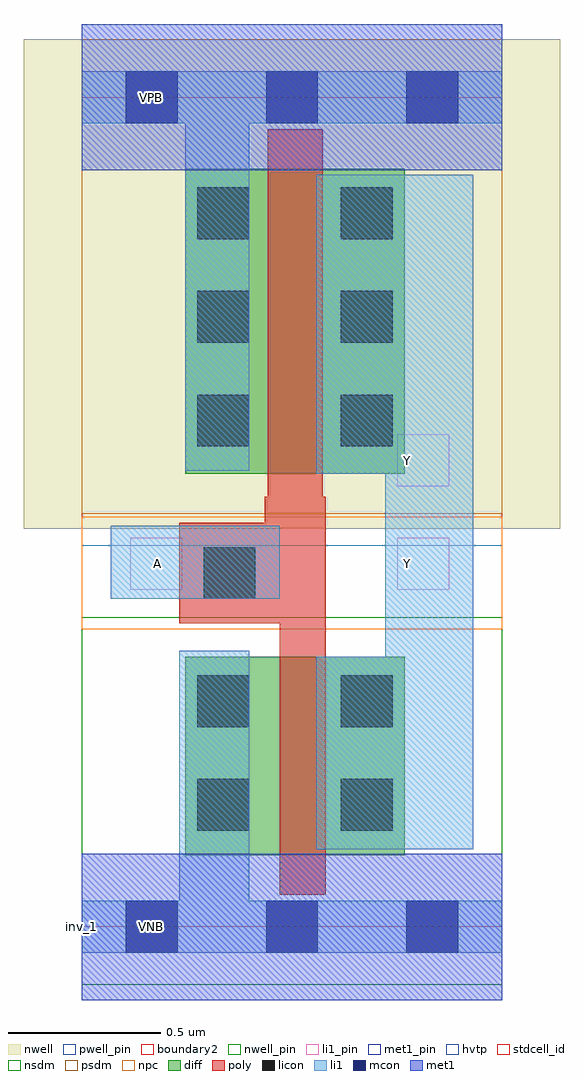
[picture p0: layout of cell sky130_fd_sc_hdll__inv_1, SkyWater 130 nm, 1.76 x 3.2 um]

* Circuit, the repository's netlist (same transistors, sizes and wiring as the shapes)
* Copyright 2020 The SkyWater PDK Authors
*
* Licensed under the Apache License, Version 2.0 (the "License");
* you may not use this file except in compliance with the License.
* You may obtain a copy of the License at
*
*     https://www.apache.org/licenses/LICENSE-2.0
*
* Unless required by applicable law or agreed to in writing, software
* distributed under the License is distributed on an "AS IS" BASIS,
* WITHOUT WARRANTIES OR CONDITIONS OF ANY KIND, either express or implied.
* See the License for the specific language governing permissions and
* limitations under the License.
*
* SPDX-License-Identifier: Apache-2.0

.SUBCKT sky130_fd_sc_hdll__inv_1 A VGND VNB VPB VPWR Y
*.PININFO A:I VGND:I VNB:I VPB:I VPWR:I Y:O
MMIN1 Y A VGND VNB sky130_fd_pr__nfet_01v8 m=1 w=0.65U l=0.15U mult=1 sa=0.265
+ sb=0.265 sd=0.28 area=0.063 perim=1.14
MMIP1 Y A VPWR VPB sky130_fd_pr__pfet_01v8_hvt m=1 w=1.0U l=0.18U mult=1 sa=0.265
+ sb=0.265 sd=0.28 area=0.063 perim=1.14
.ENDS sky130_fd_sc_hdll__inv_1

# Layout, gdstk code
import gdstk
lib = gdstk.Library(unit=1e-6, precision=1e-09)
def R(c, l, rs):  # rectangles x0, y0, x1, y1
    for r in rs: c.add(gdstk.rectangle(r[:2], r[2:], *l))
def A(c, l, x, y, w, h, nx, ny, dx, dy):  # array of equal rectangles
    R(c, l, [(x+i*dx, y+j*dy, x+i*dx+w, y+j*dy+h) for i in range(nx) for j in range(ny)])
def P(c, l, *ps):  # polygons
    for p in ps: c.add(gdstk.Polygon(p, *l))
nwell_pin = (64, 16)
nwell = (64, 20)
diff = (65, 20)
poly = (66, 20)
licon = (66, 44)
li1_pin = (67, 16)
li1 = (67, 20)
mcon = (67, 44)
met1_pin = (68, 16)
met1 = (68, 20)
hvtp = (78, 44)
stdcell_id = (81, 4)
nsdm = (93, 44)
psdm = (94, 20)
npc = (95, 20)
pwell_pin = (122, 16)
boundary2 = (236, 0)

sky130_fd_sc_hdll__inv_1 = lib.new_cell('sky130_fd_sc_hdll__inv_1')
R(sky130_fd_sc_hdll__inv_1, nwell_pin, [(0.145,2.635,0.315,2.805), (0.145,2.635,0.315,2.805)])
R(sky130_fd_sc_hdll__inv_1, nwell, [(-0.19,1.305,1.57,2.91)])
R(sky130_fd_sc_hdll__inv_1, diff, [(0.34,0.235,1.06,0.885), (0.34,1.485,1.06,2.485)])
P(sky130_fd_sc_hdll__inv_1, poly, [(0.8,1.41),(0.79,1.41),(0.79,2.615),(0.61,2.615),(0.61,1.41),(0.6,1.41),(0.6,1.325),(0.32,1.325),(0.32,0.995),(0.65,0.995),(0.65,0.105),(0.8,0.105)])
A(sky130_fd_sc_hdll__inv_1, licon, 0.38, 1.575, 0.17, 0.17, 1, 3, 0, 0.34)
A(sky130_fd_sc_hdll__inv_1, licon, 0.85, 1.575, 0.17, 0.17, 1, 3, 0, 0.34)
R(sky130_fd_sc_hdll__inv_1, licon, [(0.38,0.315,0.55,0.485), (0.85,0.315,1.02,0.485), (0.38,0.655,0.55,0.825), (0.85,0.655,1.02,0.825), (0.4,1.075,0.57,1.245)])
R(sky130_fd_sc_hdll__inv_1, li1_pin, [(0.16,1.105,0.33,1.275), (1.035,1.105,1.205,1.275), (1.035,1.445,1.205,1.615)])
R(sky130_fd_sc_hdll__inv_1, li1, [(0,-0.085,1.38,0.085), (0.32,0.005,0.55,0.905), (0.095,1.075,0.65,1.315), (0.34,1.495,0.55,2.675), (0,2.635,1.38,2.805)])
P(sky130_fd_sc_hdll__inv_1, li1, [(1.285,2.465),(0.77,2.465),(0.77,1.485),(0.995,1.485),(0.995,0.885),(0.77,0.885),(0.77,0.255),(1.285,0.255)])
A(sky130_fd_sc_hdll__inv_1, mcon, 0.145, -0.085, 0.17, 0.17, 3, 2, 0.46, 2.72)
R(sky130_fd_sc_hdll__inv_1, met1_pin, [(0.145,-0.085,0.315,0.085), (0.145,-0.085,0.315,0.085), (0.145,2.635,0.315,2.805), (0.145,2.635,0.315,2.805)])
R(sky130_fd_sc_hdll__inv_1, met1, [(0,-0.24,1.38,0.24), (0,2.48,1.38,2.96)])
R(sky130_fd_sc_hdll__inv_1, hvtp, [(0,1.25,1.38,2.72)])
R(sky130_fd_sc_hdll__inv_1, stdcell_id, [(0,0,1.38,2.72)])
R(sky130_fd_sc_hdll__inv_1, nsdm, [(0,-0.19,1.38,1.015)])
R(sky130_fd_sc_hdll__inv_1, psdm, [(0,1.355,1.38,2.91)])
R(sky130_fd_sc_hdll__inv_1, npc, [(0,0.975,1.38,1.345)])
R(sky130_fd_sc_hdll__inv_1, pwell_pin, [(0.145,-0.085,0.315,0.085), (0.145,-0.085,0.315,0.085)])
R(sky130_fd_sc_hdll__inv_1, boundary2, [(0,0,1.38,2.72)])
sky130_fd_sc_hdll__inv_1.add(gdstk.Label('Y', (1.07,1.53), layer=67, texttype=5))
sky130_fd_sc_hdll__inv_1.add(gdstk.Label('Y', (1.07,1.19), layer=67, texttype=5))
sky130_fd_sc_hdll__inv_1.add(gdstk.Label('A', (0.25,1.19), layer=67, texttype=5))
sky130_fd_sc_hdll__inv_1.add(gdstk.Label('VPB', (0.23,2.72), layer=64, texttype=5))
sky130_fd_sc_hdll__inv_1.add(gdstk.Label('VNB', (0.23,0), layer=64, texttype=59))
sky130_fd_sc_hdll__inv_1.add(gdstk.Label('VGND', (0.23,0), layer=68, texttype=5))
sky130_fd_sc_hdll__inv_1.add(gdstk.Label('VPWR', (0.23,2.72), layer=68, texttype=5))
sky130_fd_sc_hdll__inv_1.add(gdstk.Label('inv_1', (0,0), layer=83, texttype=44))

lib.write_gds('sky130_fd_sc_hdll__inv_1.gds')
